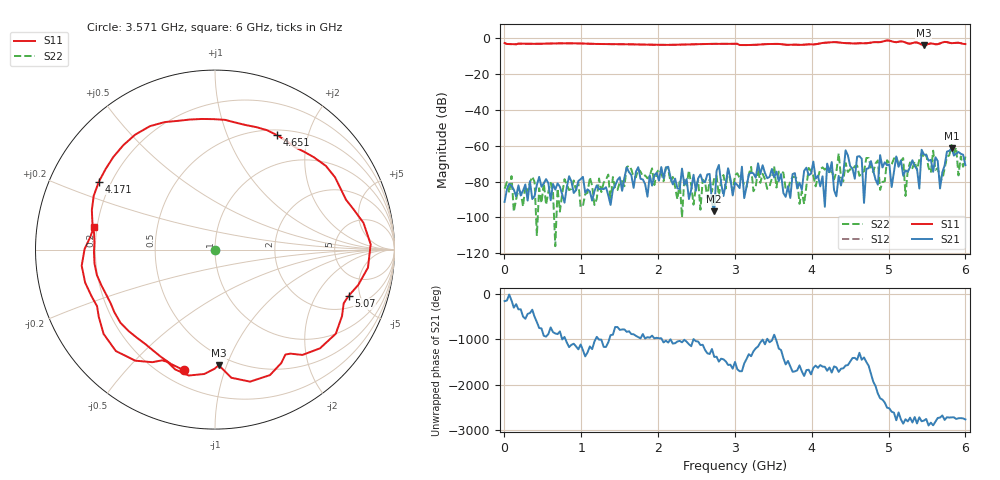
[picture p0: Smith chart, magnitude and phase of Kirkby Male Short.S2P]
! C:\data\cal kit\Siglent Cal Kit\Kirkby Male Short.S2P
! Touchstone 1.1 file saved by VNA.EXE V1.60 (www.ke5fx.com/gpib/readme.htm)
! 26/07/2019 10:52:33 a.m.
!  Source: HEWLETT PACKARD,8753C,0,4.12
!  Min freq: 3.000000E+006 Hz
!  Max freq: 6.000000E+009 Hz
!  Points: 201
!  Params: S11 S21 S12 S22
# GHZ S DB R 50
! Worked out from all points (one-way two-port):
!   201 points, 3 MHz to 6 GHz, reference 50 ohm
!   highest |S21| = -61.37 dB at 5.82 GHz (marker M1); lowest = -96.6 dB at 2.732 GHz (marker M2)
!   lowest |S11| = -3.8 dB at 5.46 GHz (marker M3), VSWR 4.62, Z = 21.3 - j46.9 ohm
!   |S11| at or under -10 dB: nowhere
!   |S22| runs from -116.1 to -59.6 dB; largest |S21 - S12| = 0.87
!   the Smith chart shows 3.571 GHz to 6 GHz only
!   S11 on the Smith chart (normalised r, x): 3.571 GHz: 0.28, -0.73; 4.171 GHz: 0.15, +0.26; 4.651 GHz: 0.57, +1.53; 5.07 GHz: 2.87, -3.91; 6 GHz: 0.19, +0.09
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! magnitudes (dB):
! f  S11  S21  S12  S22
! 3 MHz  -2.7  -91.3  -2.7  -84.0
! 1.022 GHz  -3.0  -77.4  -3.0  -93.6
! 2.012 GHz  -3.7  -79.6  -3.7  -73.1
! 2.732 GHz  -3.1  -96.6  -3.1  -77.9
! 3.002 GHz  -3.1  -80.7  -3.1  -76.4
! 3.571 GHz  -3.2  -79.8  -3.2  -74.5
! 4.021 GHz  -3.4  -68.8  -3.4  -76.7
! 4.171 GHz  -2.5  -94.1  -2.5  -73.4
! 4.651 GHz  -2.8  -67.3  -2.8  -75.2
! 4.681 GHz  -2.8  -91.9  -2.8  -74.3
! 5.01 GHz  -1.3  -70.5  -1.3  -69.7
! 5.07 GHz  -2.1  -74.5  -2.1  -67.1
! 5.19 GHz  -1.9  -76.8  -1.9  -66.9
! 5.22 GHz  -2.4  -73.8  -2.4  -88.1
! 5.4 GHz  -2.9  -83.9  -2.9  -67.8
! 5.46 GHz  -3.8  -64.9  -3.8  -66.6
! 5.55 GHz  -2.9  -67.9  -2.9  -75.0
! 5.58 GHz  -3.1  -74.6  -3.1  -62.8
! 5.67 GHz  -2.9  -83.9  -2.9  -79.2
! 5.82 GHz  -2.7  -61.4  -2.7  -59.6
! 5.91 GHz  -2.5  -63.5  -2.5  -76.6
! 6 GHz  -3.3  -70.9  -3.2  -66.1
